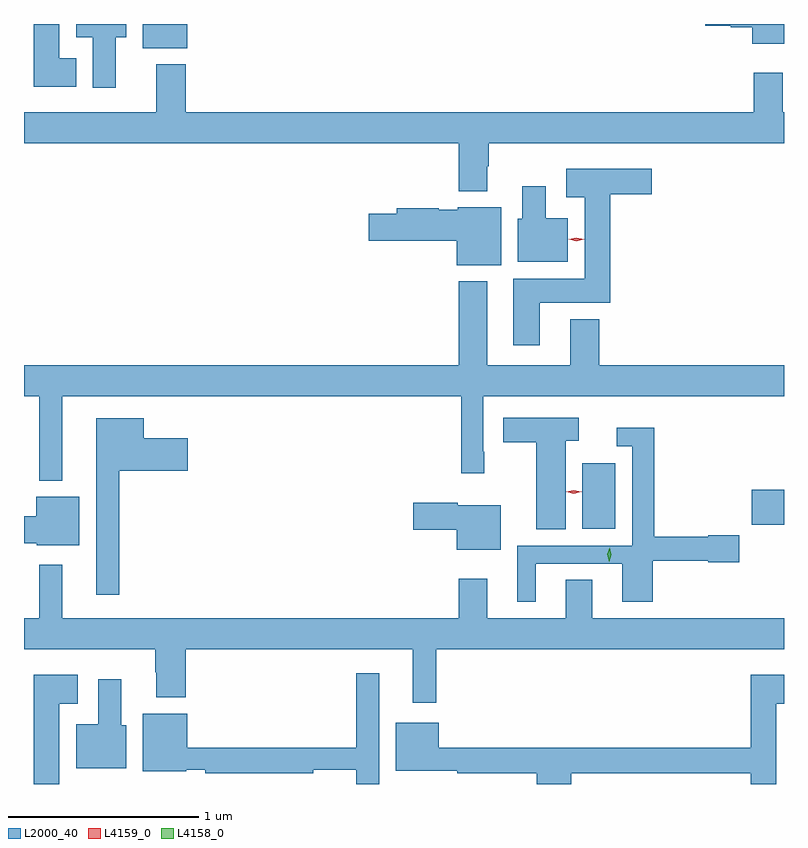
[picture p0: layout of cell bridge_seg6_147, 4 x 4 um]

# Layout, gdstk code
import gdstk
lib = gdstk.Library(unit=1e-6, precision=1e-09)
def R(c, l, rs):  # rectangles x0, y0, x1, y1
    for r in rs: c.add(gdstk.rectangle(r[:2], r[2:], *l))
def P(c, l, *ps):  # polygons
    for p in ps: c.add(gdstk.Polygon(p, *l))
L2000_40 = (2000, 40)
L4158_0 = (4158, 0)
L4159_0 = (4159, 0)

bridge_seg6_147 = lib.new_cell('bridge_seg6_147')
R(bridge_seg6_147, L2000_40, [(605.354,947.972,605.527,948.316), (606.246,947.993,606.416,948.176), (603.041,950.501,603.274,950.628)])
P(bridge_seg6_147, L2000_40, [(602.692,950.449),(602.602,950.449),(602.602,950.628),(602.468,950.628),(602.468,950.297),(602.692,950.297)],
  [(606.416,950.628),(606.002,950.628),(606.002,950.618),(606.135,950.618),(606.135,950.611),(606.248,950.611),(606.248,950.525),(606.416,950.525)],
  [(602.899,950.558),(602.953,950.558),(602.953,950.628),(602.69,950.628),(602.69,950.558),(602.777,950.558),(602.777,950.292),(602.899,950.292)],
  [(603.266,950.416),(603.113,950.416),(603.113,950.164),(602.416,950.164),(602.416,950),(604.703,950),(604.703,949.748),(604.855,949.748),(604.855,949.88),(604.863,949.88),(604.863,950),(606.416,950),(606.416,950.164),(606.409,950.164),(606.409,950.371),(606.257,950.371),(606.257,950.164),(603.266,950.164)],
  [(605.131,949.16),(605.501,949.16),(605.501,949.733),(605.719,949.733),(605.719,949.867),(605.271,949.867),(605.271,949.715),(605.366,949.715),(605.366,949.288),(604.991,949.288),(604.991,948.936),(605.131,948.936)],
  [(605.278,949.606),(605.161,949.606),(605.161,949.774),(605.039,949.774),(605.039,949.602),(605.015,949.602),(605.015,949.376),(605.278,949.376)],
  [(604.927,949.663),(604.698,949.663),(604.698,949.651),(604.598,949.651),(604.598,949.659),(604.379,949.659),(604.379,949.629),(604.23,949.629),(604.23,949.487),(604.694,949.487),(604.694,949.358),(604.927,949.358)],
  [(602.617,948.668),(604.717,948.668),(604.717,948.264),(604.838,948.264),(604.838,948.376),(604.833,948.376),(604.833,948.668),(606.416,948.668),(606.416,948.832),(605.444,948.832),(605.444,949.075),(605.291,949.075),(605.291,948.832),(604.855,948.832),(604.855,949.273),(604.703,949.273),(604.703,948.832),(602.416,948.832),(602.416,948.668),(602.496,948.668),(602.496,948.224),(602.617,948.224)],
  [(605.266,948.434),(605.335,948.434),(605.335,948.556),(604.938,948.556),(604.938,948.427),(605.111,948.427),(605.111,947.968),(605.266,947.968)],
  [(602.917,948.278),(603.277,948.278),(603.277,948.448),(603.046,948.448),(603.046,948.553),(602.795,948.553),(602.795,947.625),(602.917,947.625)],
  [(605.11,947.787),(605.564,947.787),(605.564,947.586),(605.726,947.586),(605.726,947.802),(606.018,947.802),(606.018,947.794),(606.181,947.794),(606.181,947.938),(606.018,947.938),(606.018,947.93),(605.732,947.93),(605.732,948.502),(605.535,948.502),(605.535,948.405),(605.616,948.405),(605.616,947.883),(605.012,947.883),(605.012,947.586),(605.11,947.586)],
  [(602.707,948.139),(602.48,948.139),(602.48,948.038),(602.416,948.038),(602.416,947.896),(602.484,947.896),(602.484,947.885),(602.707,947.885)],
  [(604.924,948.094),(604.698,948.094),(604.698,948.107),(604.464,948.107),(604.464,947.965),(604.694,947.965),(604.694,947.861),(604.924,947.861)],
  [(602.496,947.782),(602.496,947.5),(602.416,947.5),(602.416,947.336),(603.106,947.336),(603.106,947.216),(603.113,947.216),(603.113,947.084),(603.266,947.084),(603.266,947.336),(604.463,947.336),(604.463,947.055),(604.585,947.055),(604.585,947.336),(606.416,947.336),(606.416,947.5),(605.407,947.5),(605.407,947.702),(605.267,947.702),(605.267,947.5),(604.855,947.5),(604.855,947.707),(604.703,947.707),(604.703,947.5),(602.617,947.5),(602.617,947.782)],
  [(604.285,947.212),(604.164,947.212),(604.164,946.82),(603.274,946.82),(603.274,946.999),(603.041,946.999),(603.041,946.694),(603.27,946.694),(603.27,946.704),(603.37,946.704),(603.37,946.684),(603.938,946.684),(603.938,946.703),(604.164,946.703),(604.164,946.628),(604.285,946.628)],
  [(602.602,947.051),(602.698,947.051),(602.698,947.203),(602.468,947.203),(602.468,946.628),(602.602,946.628)],
  [(605.297,946.684),(606.242,946.684),(606.242,946.628),(606.376,946.628),(606.376,947.051),(606.416,947.051),(606.416,947.203),(606.242,947.203),(606.242,946.82),(604.6,946.82),(604.6,946.951),(604.373,946.951),(604.373,946.697),(604.696,946.697),(604.696,946.684),(605.114,946.684),(605.114,946.628),(605.297,946.628)],
  [(602.953,946.938),(602.929,946.938),(602.929,947.179),(602.807,947.179),(602.807,946.942),(602.69,946.942),(602.69,946.712),(602.953,946.712)])
P(bridge_seg6_147, L4158_0, [(605.495,947.799),(605.495,947.799),(605.487,947.836),(605.498,947.871),(605.498,947.871),(605.499,947.871),(605.507,947.835),(605.496,947.799)])
P(bridge_seg6_147, L4159_0, [(605.323,949.484),(605.282,949.494),(605.282,949.494),(605.282,949.494),(605.323,949.504),(605.364,949.494),(605.364,949.494),(605.364,949.494)],
  [(605.31,948.155),(605.27,948.165),(605.27,948.165),(605.27,948.165),(605.31,948.175),(605.35,948.165),(605.351,948.165),(605.35,948.165)])

lib.write_gds('bridge_seg6_147.gds')
